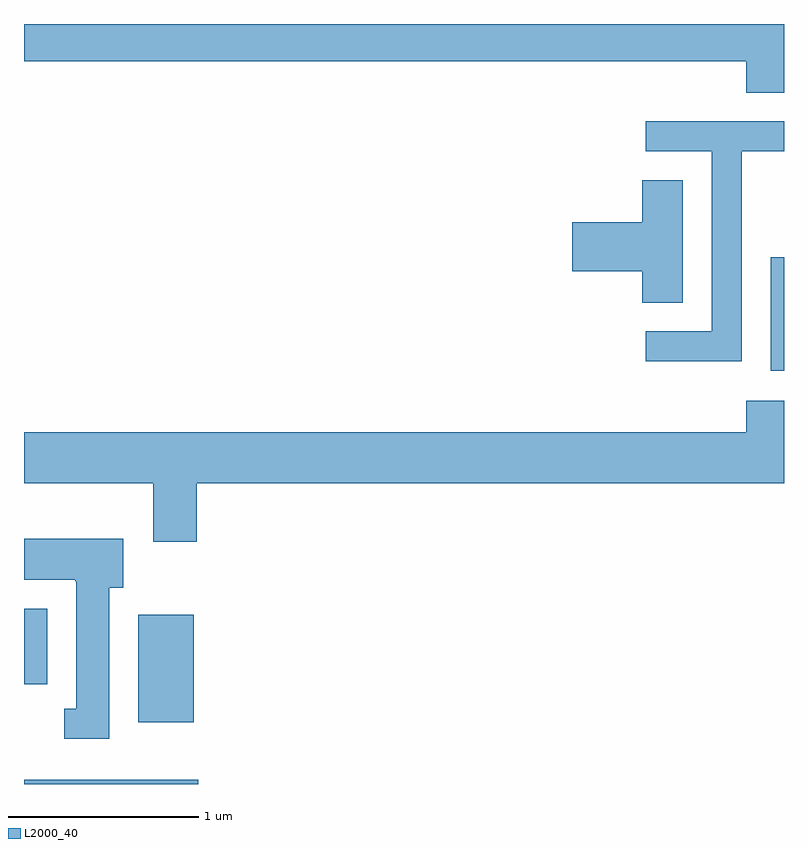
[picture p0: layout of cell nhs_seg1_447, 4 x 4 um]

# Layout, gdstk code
import gdstk
lib = gdstk.Library(unit=1e-6, precision=1e-09)
def R(c, l, rs):  # rectangles x0, y0, x1, y1
    for r in rs: c.add(gdstk.rectangle(r[:2], r[2:], *l))
def P(c, l, *ps):  # polygons
    for p in ps: c.add(gdstk.Polygon(p, *l))
L2000_40 = (2000, 40)

nhs_seg1_447 = lib.new_cell('nhs_seg1_447')
R(nhs_seg1_447, L2000_40, [(197.611,955.712,198.528,955.734), (198.211,956.036,198.504,956.604), (197.611,956.236,197.734,956.634), (201.541,957.886,201.611,958.484)])
P(nhs_seg1_447, L2000_40, [(201.611,959.712),(197.611,959.712),(197.611,959.516),(201.411,959.516),(201.411,959.351),(201.611,959.351)],
  [(201.389,959.041),(201.611,959.041),(201.611,959.199),(200.883,959.199),(200.883,959.041),(201.231,959.041),(201.231,958.094),(200.883,958.094),(200.883,957.936),(201.389,957.936)],
  [(201.079,958.889),(200.866,958.889),(200.866,958.669),(200.496,958.669),(200.496,958.411),(200.866,958.411),(200.866,958.246),(201.079,958.246)],
  [(198.519,957.296),(201.611,957.296),(201.611,957.729),(201.411,957.729),(201.411,957.564),(197.611,957.564),(197.611,957.296),(198.291,957.296),(198.291,956.986),(198.519,956.986)],
  [(198.059,956.746),(198.134,956.746),(198.134,957.004),(197.611,957.004),(197.611,956.786),(197.88,956.786),(197.88,956.78),(197.886,956.78),(197.886,956.109),(197.823,956.109),(197.823,955.951),(198.059,955.951)])

lib.write_gds('nhs_seg1_447.gds')
